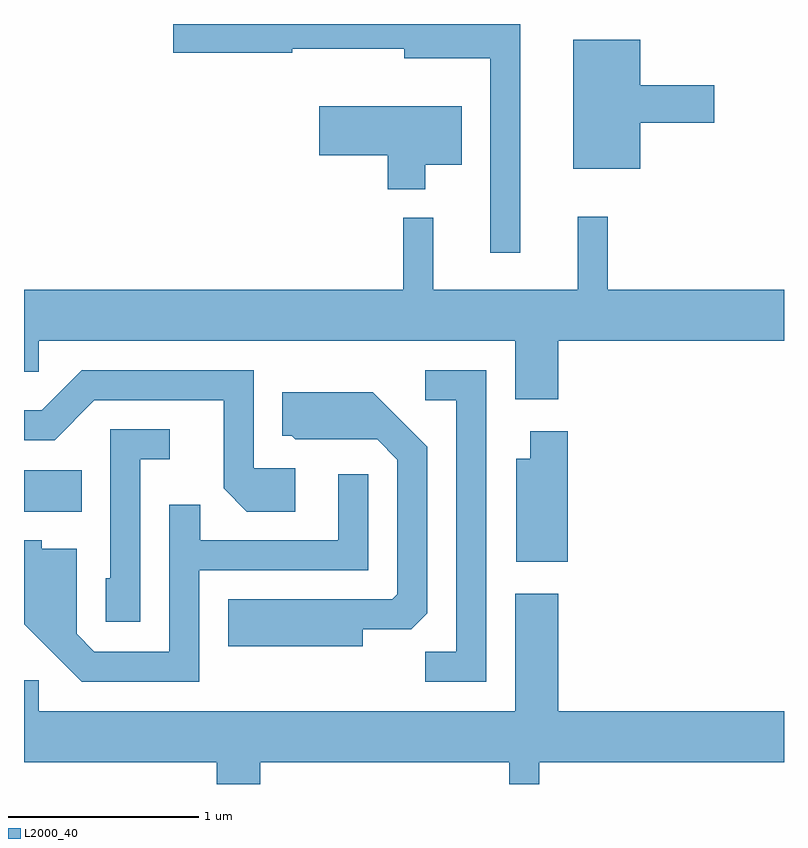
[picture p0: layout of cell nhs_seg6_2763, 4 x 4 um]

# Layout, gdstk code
import gdstk
lib = gdstk.Library(unit=1e-6, precision=1e-09)
def R(c, l, rs):  # rectangles x0, y0, x1, y1
    for r in rs: c.add(gdstk.rectangle(r[:2], r[2:], *l))
def P(c, l, *ps):  # polygons
    for p in ps: c.add(gdstk.Polygon(p, *l))
L2000_40 = (2000, 40)

nhs_seg6_2763 = lib.new_cell('nhs_seg6_2763')
R(nhs_seg6_2763, L2000_40, [(269.611,1533.596,269.914,1533.814)])
P(nhs_seg6_2763, L2000_40, [(272.224,1536.162),(270.396,1536.162),(270.396,1536.011),(271.024,1536.011),(271.024,1536.031),(271.611,1536.031),(271.611,1535.981),(272.066,1535.981),(272.066,1534.958),(272.224,1534.958)],
  [(272.854,1535.641),(273.244,1535.641),(273.244,1535.839),(272.854,1535.839),(272.854,1536.079),(272.501,1536.079),(272.501,1535.401),(272.854,1535.401)],
  [(271.724,1535.421),(271.914,1535.421),(271.914,1535.729),(271.166,1535.729),(271.166,1535.471),(271.526,1535.471),(271.526,1535.291),(271.724,1535.291)],
  [(272.424,1534.496),(273.611,1534.496),(273.611,1534.764),(272.684,1534.764),(272.684,1535.148),(272.526,1535.148),(272.526,1534.764),(271.764,1534.764),(271.764,1535.143),(271.606,1535.143),(271.606,1534.764),(269.611,1534.764),(269.611,1534.331),(269.689,1534.331),(269.689,1534.496),(272.196,1534.496),(272.196,1534.186),(272.424,1534.186)],
  [(272.044,1534.339),(271.723,1534.339),(271.723,1534.181),(271.886,1534.181),(271.886,1532.859),(271.723,1532.859),(271.723,1532.701),(272.044,1532.701)],
  [(271.039,1533.824),(270.819,1533.824),(270.819,1534.339),(269.914,1534.339),(269.704,1534.129),(269.611,1534.129),(269.611,1533.971),(269.772,1533.971),(269.982,1534.181),(270.661,1534.181),(270.661,1533.719),(270.784,1533.596),(271.039,1533.596)],
  [(271.394,1532.976),(271.649,1532.976),(271.734,1533.062),(271.734,1533.937),(271.447,1534.224),(270.971,1534.224),(270.971,1533.996),(271.019,1533.996),(271.039,1533.976),(271.469,1533.976),(271.576,1533.869),(271.576,1533.162),(271.549,1533.134),(270.686,1533.134),(270.686,1532.886),(271.394,1532.886)],
  [(270.224,1533.871),(270.378,1533.871),(270.378,1534.029),(270.066,1534.029),(270.066,1533.244),(270.041,1533.244),(270.041,1533.016),(270.224,1533.016)],
  [(272.474,1534.019),(272.276,1534.019),(272.276,1533.874),(272.201,1533.874),(272.201,1533.331),(272.474,1533.331)],
  [(270.534,1533.286),(271.424,1533.286),(271.424,1533.793),(271.266,1533.793),(271.266,1533.444),(270.539,1533.444),(270.539,1533.633),(270.376,1533.633),(270.376,1532.859),(269.982,1532.859),(269.889,1532.952),(269.889,1533.399),(269.704,1533.399),(269.704,1533.444),(269.611,1533.444),(269.611,1533.004),(269.914,1532.701),(270.534,1532.701)],
  [(270.854,1532.276),(272.166,1532.276),(272.166,1532.162),(272.324,1532.162),(272.324,1532.276),(273.611,1532.276),(273.611,1532.544),(272.424,1532.544),(272.424,1533.164),(272.196,1533.164),(272.196,1532.544),(269.689,1532.544),(269.689,1532.709),(269.611,1532.709),(269.611,1532.276),(270.626,1532.276),(270.626,1532.162),(270.854,1532.162)])

lib.write_gds('nhs_seg6_2763.gds')
